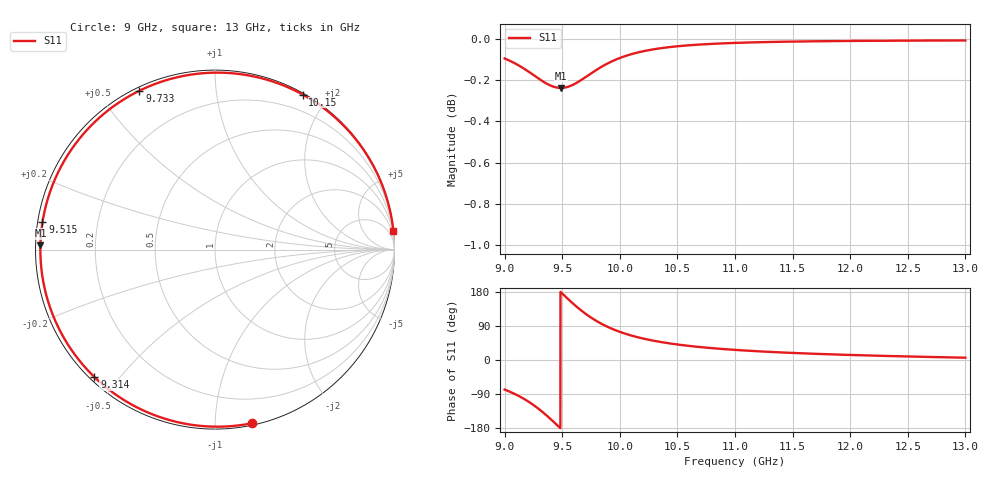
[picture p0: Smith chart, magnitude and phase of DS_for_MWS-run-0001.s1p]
! TOUCHSTONE file generated by CST DESIGN STUDIO
! Date and time: Tue Feb  4 12:23:59 2025
! Project name: C:\Work\MatlabApps\UnitCellOptimizationMatlab\CST\unitcell.cst
! Tree item: Tasks\Sweep1\SPara1\S-Parameters
! Header version: 2024
! Port assignment regex: !\s*Touchstone port\s*([0-9]+)\s*=\s*(CST MWS port|CST DES external port|CST DES block port)\s*(.+)\s* \(\"(.*)\"\)(\s*mode\s*([0-9]+))?.*
! Touchstone port assignment:
! Touchstone port 1 = CST DES external port 1 ("")
# GHz S MA R 50
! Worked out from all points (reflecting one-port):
!   4001 points, 9 GHz to 13 GHz, reference 50 ohm
!   lowest |S11| = -0.2 dB at 9.489 GHz (marker M1), VSWR 73.30, Z = 0.682 + j0.632 ohm
!   phase of S11 starts at -78 deg and turns -276 deg over the sweep
!   S11 on the Smith chart (normalised r, x): 9 GHz: 0.01, -1.23; 9.314 GHz: 0.01, -0.43; 9.515 GHz: 0.01, +0.08; 9.733 GHz: 0.01, +0.63; 10.15 GHz: 0.01, +1.72; 13 GHz: 0, +19
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9  0.9892 -78.0
9.08  0.9869 -88.5
9.179  0.9832 -104.6
9.249  0.9802 -118.5
9.314  0.9774 -133.4
9.36  0.9756 -145.2
9.409  0.9741 -158.5
9.45  0.9733 -170.2
9.489  0.9731 178.6
9.5  0.9731 175.4
9.515  0.9732 171.0
9.568  0.9741 156.0
9.628  0.976 139.9
9.68  0.978 127.2
9.733  0.9803 115.5
9.787  0.9826 104.8
9.847  0.9849 94.6
9.923  0.9874 83.6
10  0.9895 74.3
10.15  0.9925 60.5
10.309  0.9945 50.0
10.5  0.996 40.9
10.722  0.9971 33.4
11  0.9979 26.7
11.5  0.9987 18.6
12  0.999 13.3
12.5  0.9992 9.3
13  0.9993 6.1
